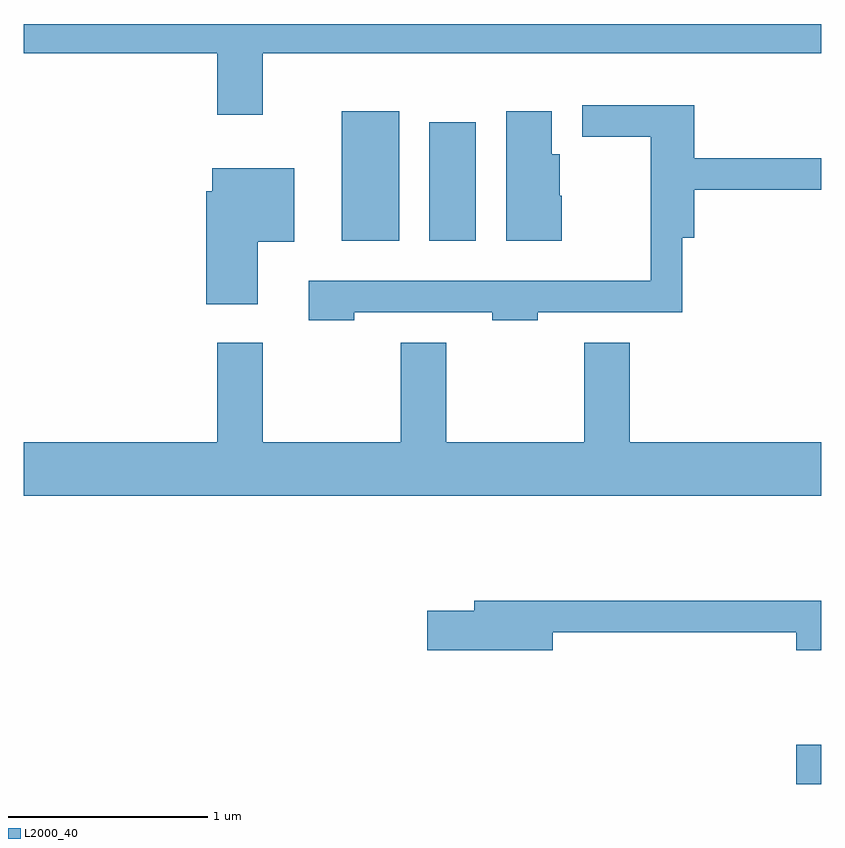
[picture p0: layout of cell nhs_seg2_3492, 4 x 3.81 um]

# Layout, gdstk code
import gdstk
lib = gdstk.Library(unit=1e-6, precision=1e-09)
def R(c, l, rs):  # rectangles x0, y0, x1, y1
    for r in rs: c.add(gdstk.rectangle(r[:2], r[2:], *l))
def P(c, l, *ps):  # polygons
    for p in ps: c.add(gdstk.Polygon(p, *l))
L2000_40 = (2000, 40)

nhs_seg2_3492 = lib.new_cell('nhs_seg2_3492')
R(nhs_seg2_3492, L2000_40, [(291.486,1037.991,291.611,1038.189), (289.206,1040.716,289.494,1041.364), (289.646,1040.716,289.879,1041.309)])
P(nhs_seg2_3492, L2000_40, [(288.809,1041.656),(291.611,1041.656),(291.611,1041.802),(287.611,1041.802),(287.611,1041.656),(288.581,1041.656),(288.581,1041.346),(288.809,1041.346)],
  [(289.269,1040.356),(289.961,1040.356),(289.961,1040.316),(290.189,1040.316),(290.189,1040.356),(290.914,1040.356),(290.914,1040.731),(290.974,1040.731),(290.974,1040.971),(291.611,1040.971),(291.611,1041.129),(290.974,1041.129),(290.974,1041.394),(290.413,1041.394),(290.413,1041.236),(290.756,1041.236),(290.756,1040.514),(289.041,1040.514),(289.041,1040.316),(289.269,1040.316)],
  [(290.309,1040.94),(290.299,1040.94),(290.299,1041.149),(290.259,1041.149),(290.259,1041.364),(290.031,1041.364),(290.031,1040.716),(290.309,1040.716)],
  [(288.784,1040.711),(288.969,1040.711),(288.969,1041.079),(288.556,1041.079),(288.556,1040.964),(288.526,1040.964),(288.526,1040.396),(288.784,1040.396)],
  [(291.611,1039.704),(290.649,1039.704),(290.649,1040.204),(290.421,1040.204),(290.421,1039.704),(289.729,1039.704),(289.729,1040.204),(289.501,1040.204),(289.501,1039.704),(288.809,1039.704),(288.809,1040.204),(288.581,1040.204),(288.581,1039.704),(287.611,1039.704),(287.611,1039.436),(291.611,1039.436)],
  [(290.264,1038.751),(291.486,1038.751),(291.486,1038.661),(291.611,1038.661),(291.611,1038.909),(289.871,1038.909),(289.871,1038.859),(289.636,1038.859),(289.636,1038.661),(290.264,1038.661)])

lib.write_gds('nhs_seg2_3492.gds')
